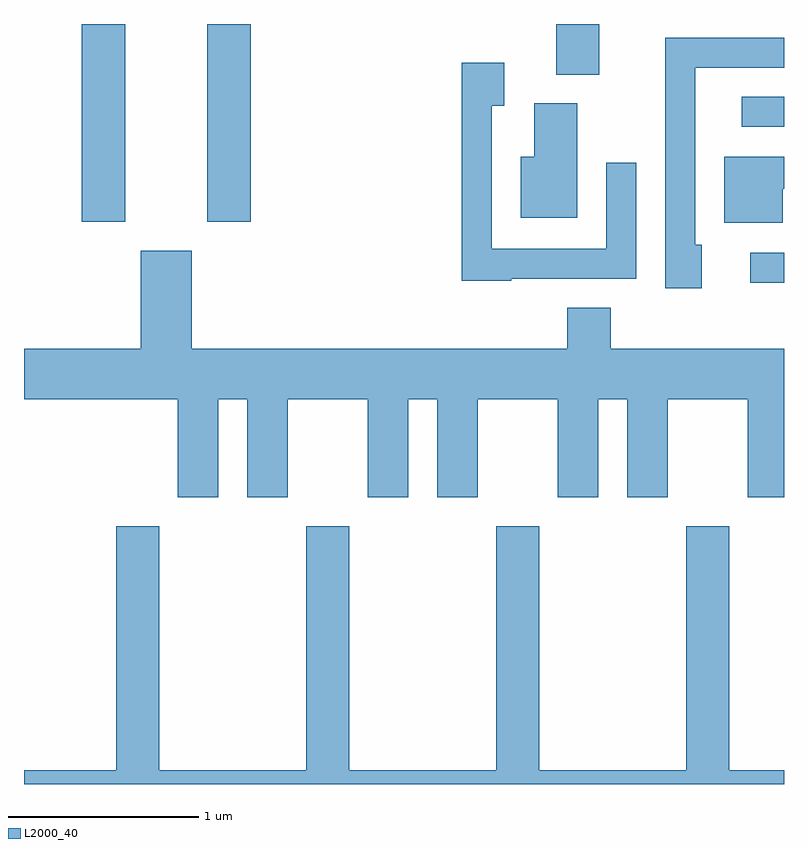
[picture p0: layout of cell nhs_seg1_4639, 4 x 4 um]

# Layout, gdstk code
import gdstk
lib = gdstk.Library(unit=1e-6, precision=1e-09)
def R(c, l, rs):  # rectangles x0, y0, x1, y1
    for r in rs: c.add(gdstk.rectangle(r[:2], r[2:], *l))
def P(c, l, *ps):  # polygons
    for p in ps: c.add(gdstk.Polygon(p, *l))
L2000_40 = (2000, 40)

nhs_seg1_4639 = lib.new_cell('nhs_seg1_4639')
R(nhs_seg1_4639, L2000_40, [(327.433,962.351,327.611,962.509), (323.916,962.671,324.144,963.712), (324.576,962.671,324.804,963.712), (327.388,963.171,327.611,963.329), (326.411,963.446,326.639,963.712)])
P(nhs_seg1_4639, L2000_40, [(327.179,962.549),(327.144,962.549),(327.144,963.481),(327.611,963.481),(327.611,963.639),(326.986,963.639),(326.986,962.321),(327.179,962.321)],
  [(326.175,962.371),(326.834,962.371),(326.834,962.983),(326.676,962.983),(326.676,962.529),(326.074,962.529),(326.074,963.281),(326.139,963.281),(326.139,963.509),(325.916,963.509),(325.916,962.361),(326.175,962.361)],
  [(326.524,963.294),(326.296,963.294),(326.296,963.014),(326.226,963.014),(326.226,962.691),(326.524,962.691)],
  [(327.604,962.846),(327.611,962.846),(327.611,963.014),(327.296,963.014),(327.296,962.666),(327.604,962.666)],
  [(324.634,961.736),(324.786,961.736),(324.786,961.221),(324.999,961.221),(324.999,961.736),(325.421,961.736),(325.421,961.221),(325.634,961.221),(325.634,961.736),(325.786,961.736),(325.786,961.221),(325.999,961.221),(325.999,961.736),(326.421,961.736),(326.421,961.221),(326.634,961.221),(326.634,961.736),(326.786,961.736),(326.786,961.221),(326.999,961.221),(326.999,961.736),(327.421,961.736),(327.421,961.221),(327.611,961.221),(327.611,962.004),(326.699,962.004),(326.699,962.219),(326.471,962.219),(326.471,962.004),(324.494,962.004),(324.494,962.519),(324.226,962.519),(324.226,962.004),(323.611,962.004),(323.611,961.736),(324.421,961.736),(324.421,961.221),(324.634,961.221)],
  [(327.611,959.784),(327.324,959.784),(327.324,961.069),(327.096,961.069),(327.096,959.784),(326.324,959.784),(326.324,961.069),(326.096,961.069),(326.096,959.784),(325.324,959.784),(325.324,961.069),(325.096,961.069),(325.096,959.784),(324.324,959.784),(324.324,961.069),(324.096,961.069),(324.096,959.784),(323.611,959.784),(323.611,959.712),(327.611,959.712)])

lib.write_gds('nhs_seg1_4639.gds')
